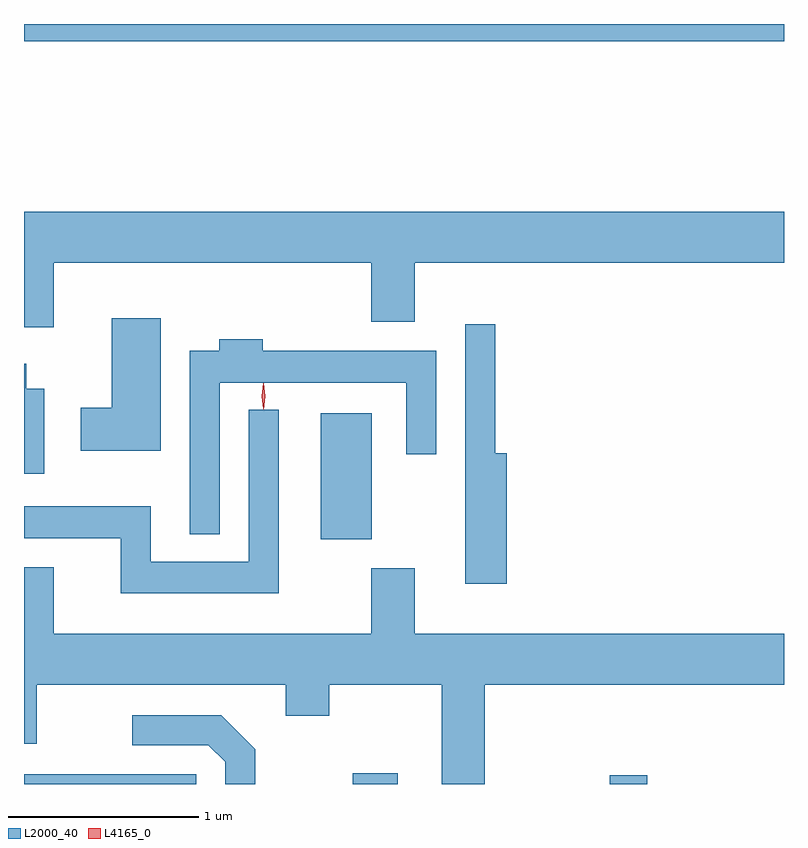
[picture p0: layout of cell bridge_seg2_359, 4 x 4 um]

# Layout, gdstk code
import gdstk
lib = gdstk.Library(unit=1e-6, precision=1e-09)
def R(c, l, rs):  # rectangles x0, y0, x1, y1
    for r in rs: c.add(gdstk.rectangle(r[:2], r[2:], *l))
def P(c, l, *ps):  # polygons
    for p in ps: c.add(gdstk.Polygon(p, *l))
L2000_40 = (2000, 40)
L4165_0 = (4165, 0)

bridge_seg2_359 = lib.new_cell('bridge_seg2_359')
R(bridge_seg2_359, L2000_40, [(630.313,1025.593,631.219,1025.644), (632.043,1025.593,632.279,1025.649), (633.396,1025.593,633.594,1025.639), (631.876,1026.881,632.144,1027.544), (630.313,1029.501,634.313,1029.593)])
P(bridge_seg2_359, L2000_40, [(630.469,1028.336),(632.141,1028.336),(632.141,1028.026),(632.369,1028.026),(632.369,1028.336),(634.313,1028.336),(634.313,1028.604),(630.313,1028.604),(630.313,1027.996),(630.469,1027.996)],
  [(631.034,1028.044),(630.776,1028.044),(630.776,1027.574),(630.611,1027.574),(630.611,1027.346),(631.034,1027.346)],
  [(632.854,1027.334),(632.794,1027.334),(632.794,1028.013),(632.636,1028.013),(632.636,1026.646),(632.854,1026.646)],
  [(631.344,1027.706),(632.326,1027.706),(632.326,1027.328),(632.484,1027.328),(632.484,1027.874),(631.569,1027.874),(631.569,1027.934),(631.341,1027.934),(631.341,1027.874),(631.186,1027.874),(631.186,1026.908),(631.344,1026.908)],
  [(630.419,1027.674),(630.324,1027.674),(630.324,1027.804),(630.313,1027.804),(630.313,1027.226),(630.419,1027.226)],
  [(631.654,1027.563),(631.496,1027.563),(631.496,1026.764),(630.979,1026.764),(630.979,1027.054),(630.313,1027.054),(630.313,1026.886),(630.821,1026.886),(630.821,1026.596),(631.654,1026.596)],
  [(632.739,1026.116),(634.313,1026.116),(634.313,1026.384),(632.369,1026.384),(632.369,1026.729),(632.141,1026.729),(632.141,1026.384),(630.469,1026.384),(630.469,1026.734),(630.313,1026.734),(630.313,1025.806),(630.379,1025.806),(630.379,1026.116),(631.691,1026.116),(631.691,1025.951),(631.919,1025.951),(631.919,1026.116),(632.511,1026.116),(632.511,1025.593),(632.739,1025.593)],
  [(631.529,1025.777),(631.352,1025.954),(630.883,1025.954),(630.883,1025.796),(631.284,1025.796),(631.371,1025.709),(631.371,1025.593),(631.529,1025.593)])
P(bridge_seg2_359, L4165_0, [(631.574,1027.564),(631.574,1027.564),(631.564,1027.633),(631.573,1027.702),(631.574,1027.703),(631.574,1027.702),(631.584,1027.633),(631.575,1027.564)],
  [(631.573,1027.567),(631.573,1027.568),(631.563,1027.634),(631.573,1027.7),(631.573,1027.701),(631.574,1027.7),(631.583,1027.634),(631.574,1027.568)])

lib.write_gds('bridge_seg2_359.gds')
